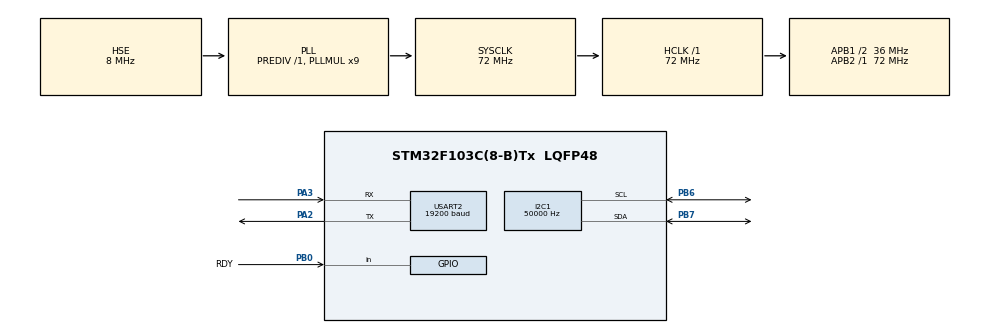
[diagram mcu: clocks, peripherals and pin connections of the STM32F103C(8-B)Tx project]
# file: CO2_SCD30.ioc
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I2C1.ClockSpeed=50000
I2C1.I2C_Mode=I2C_Standard
I2C1.NoStretchMode=I2C_NOSTRETCH_DISABLE
I2C1.OwnAddress=0
Mcu.Family=STM32F1
Mcu.Name=STM32F103C(8-B)Tx
Mcu.Package=LQFP48
NVIC.PriorityGroup=NVIC_PRIORITYGROUP_4
NVIC.TIM1_UP_IRQn=true\:0\:0\:false\:true\:true\:1\:true\:true
NVIC.TIM2_IRQn=true\:0\:0\:false\:false\:true\:true\:true
NVIC.USART2_IRQn=true\:0\:0\:false\:false\:true\:true\:true
PA13.Mode=Serial_Wire
PA13.Signal=SYS_JTMS-SWDIO
PA14.Mode=Serial_Wire
PA14.Signal=SYS_JTCK-SWCLK
PA2.Mode=Asynchronous
PA2.Signal=USART2_TX
PA3.Mode=Asynchronous
PA3.Signal=USART2_RX
PB0.GPIO_Label=RDY
PB0.Signal=GPIO_Input
PB6.Mode=I2C
PB6.Signal=I2C1_SCL
PB7.Mode=I2C
PB7.Signal=I2C1_SDA
PD0-OSC_IN.Mode=HSE-External-Oscillator
PD0-OSC_IN.Signal=RCC_OSC_IN
PD1-OSC_OUT.Mode=HSE-External-Oscillator
PD1-OSC_OUT.Signal=RCC_OSC_OUT
ProjectManager.HeapSize=0x200
ProjectManager.StackSize=0x400
ProjectManager.TargetToolchain=MDK-ARM V5.27
RCC.ADCPresc=RCC_ADCPCLK2_DIV6
RCC.AHBFreq_Value=72000000
RCC.APB1CLKDivider=RCC_HCLK_DIV2
RCC.APB1Freq_Value=36000000
RCC.APB1TimFreq_Value=72000000
RCC.APB2Freq_Value=72000000
RCC.APB2TimFreq_Value=72000000
RCC.HCLKFreq_Value=72000000
RCC.PLLMUL=RCC_PLL_MUL9
RCC.PLLSourceVirtual=RCC_PLLSOURCE_HSE
RCC.SYSCLKFreq_VALUE=72000000
RCC.SYSCLKSource=RCC_SYSCLKSOURCE_PLLCLK
RCC.USBFreq_Value=48000000
RCC.USBPrescaler=RCC_USBCLKSOURCE_PLL_DIV1_5
TIM1.AutoReloadPreload=TIM_AUTORELOAD_PRELOAD_ENABLE
TIM1.ClockDivision=TIM_CLOCKDIVISION_DIV2
TIM1.Period=1
TIM1.Prescaler=24000-1
TIM1.TIM_MasterOutputTrigger=TIM_TRGO_UPDATE
TIM2.AutoReloadPreload=TIM_AUTORELOAD_PRELOAD_ENABLE
TIM2.Period=4090
USART2.BaudRate=19200
USART2.VirtualMode=VM_ASYNC
VP_TIM1_VS_ClockSourceINT.Mode=Internal
VP_TIM2_VS_ClockSourceINT.Mode=Internal
board=custom

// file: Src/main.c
/* USER CODE BEGIN Header */
/**
  ******************************************************************************
  * @file           : main.c
  * @brief          : Main program body
  ******************************************************************************
  * @attention
  *
  * <h2><center>&copy; Copyright (c) 2021 STMicroelectronics.
  * All rights reserved.</center></h2>
  *
  * This software component is licensed by ST under BSD 3-Clause license,
  * the "License"; You may not use this file except in compliance with the
  * License. You may obtain a copy of the License at:
  *                        opensource.org/licenses/BSD-3-Clause
  *
  ******************************************************************************
  */
/* USER CODE END Header */
#include "main.h"
#include "i2c.h"
#include "tim.h"
#include "usart.h"
#include "gpio.h"

/* USER CODE BEGIN Includes */
#include "setup.h"
#include "control.h"
#include "ssd1306.h"

/* USER CODE END Includes */

void SystemClock_Config(void);
static void MX_NVIC_Init(void);

int main(void)
{

  /* MCU Configuration--------------------------------------------------------*/

  /* Reset of all peripherals, Initializes the Flash interface and the Systick. */
  HAL_Init();

  /* USER CODE BEGIN Init */
    SETUP_Load();
  /* USER CODE END Init */

  /* Configure the system clock */
  SystemClock_Config();

  /* Initialize all configured peripherals */
  MX_GPIO_Init();
  MX_TIM1_Init();
  MX_I2C1_Init();
  MX_TIM2_Init();
  MX_USART2_UART_Init();

  /* Initialize interrupts */
  MX_NVIC_Init();
  /* USER CODE BEGIN 2 */

//    USART_SetBaudRate(USART3, 115200);
    LL_USART_EnableIT_RXNE(USART2);
    LL_USART_EnableIT_ERROR(USART2);

    HAL_TIM_Base_Start_IT(&htim1);
    HAL_TIM_Base_Start_IT(&htim2);

    dev_var.start1 = 0;
    dev_var.start2 = 0;
    dev_var.soft_rst = 0;
    dev_var.set_ASC = 0;
    dev_var.set_FRC = 0;
    dev_var.set_offset = 0;
    dev_var.set_altitude = 0;
    dev_var.co2 = 0.0f;
    dev_var.temp = 0.0f;
    dev_var.hum = 0.0f;
    HAL_Delay(500);

	ssd1306_Init(&hi2c1);  //Initialize display
    HAL_Delay(100);

    ssd1306_SetPresent();
//------------------------------------
    HAL_Delay(2000);
  /* USER CODE END 2 */

  /* Infinite loop */
  /* USER CODE BEGIN WHILE */
  while (1)
  {
      USART2_Proc();
      ssd1306_Proc();
      SYSTEM_Proc();
      CONTROL_Proc();

    /* USER CODE END WHILE */

  }
}

void SystemClock_Config(void)
{
  RCC_OscInitTypeDef RCC_OscInitStruct = {0};
  RCC_ClkInitTypeDef RCC_ClkInitStruct = {0};

  /** Initializes the RCC Oscillators according to the specified parameters
  * in the RCC_OscInitTypeDef structure.
  */
  RCC_OscInitStruct.OscillatorType = RCC_OSCILLATORTYPE_HSE;
  RCC_OscInitStruct.HSEState = RCC_HSE_ON;
  RCC_OscInitStruct.HSEPredivValue = RCC_HSE_PREDIV_DIV1;
  RCC_OscInitStruct.HSIState = RCC_HSI_ON;
  RCC_OscInitStruct.PLL.PLLState = RCC_PLL_ON;
  RCC_OscInitStruct.PLL.PLLSource = RCC_PLLSOURCE_HSE;
  RCC_OscInitStruct.PLL.PLLMUL = RCC_PLL_MUL9;
  if (HAL_RCC_OscConfig(&RCC_OscInitStruct) != HAL_OK)
  {
    Error_Handler();
  }
  /** Initializes the CPU, AHB and APB buses clocks
  */
  RCC_ClkInitStruct.ClockType = RCC_CLOCKTYPE_HCLK|RCC_CLOCKTYPE_SYSCLK
                              |RCC_CLOCKTYPE_PCLK1|RCC_CLOCKTYPE_PCLK2;
  RCC_ClkInitStruct.SYSCLKSource = RCC_SYSCLKSOURCE_PLLCLK;
  RCC_ClkInitStruct.AHBCLKDivider = RCC_SYSCLK_DIV1;
  RCC_ClkInitStruct.APB1CLKDivider = RCC_HCLK_DIV2;
  RCC_ClkInitStruct.APB2CLKDivider = RCC_HCLK_DIV1;

  if (HAL_RCC_ClockConfig(&RCC_ClkInitStruct, FLASH_LATENCY_2) != HAL_OK)
  {
    Error_Handler();
  }
}

/**
  * @brief NVIC Configuration.
  * @retval None
  */
static void MX_NVIC_Init(void)
{
  /* TIM1_UP_IRQn interrupt configuration */
  HAL_NVIC_SetPriority(TIM1_UP_IRQn, 0, 0);
  HAL_NVIC_EnableIRQ(TIM1_UP_IRQn);
}

void Error_Handler(void)
{
}

/************************ (C) COPYRIGHT STMicroelectronics *****END OF FILE****/
